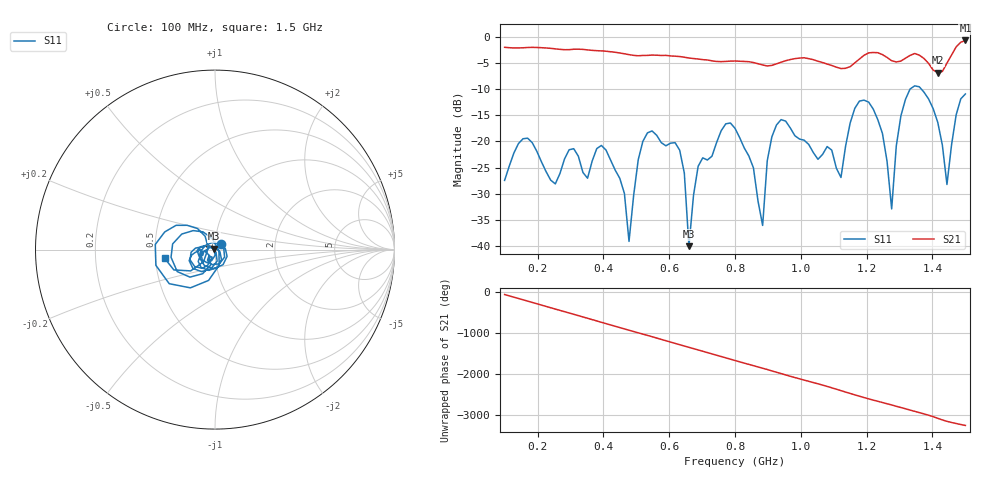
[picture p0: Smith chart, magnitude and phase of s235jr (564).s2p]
! NanoVNA-App
! Date: 2025-09-25 15:08:33
! Start: 100MHz Stop: 1,5GHz Points: 101
! S-Parameter data: F S11 S21 S12 S22
# Hz S RI R 50
!  Frequency  S11_Real  S11_Imag  S21_Real  S21_Imag  S12_Real  S12_Imag  S22_Real  S22_Imag
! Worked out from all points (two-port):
!   101 points, 100 MHz to 1.5 GHz, reference 50 ohm
!   highest |S21| = -0.65 dB at 1.5 GHz (marker M1); lowest = -6.8 dB at 1.416 GHz (marker M2)
!   |S21| within 3 dB of the highest: start of sweep to 613.7 MHz; 1.189 GHz to 1.255 GHz (66.4 MHz wide, 5.43 % of centre) (the widest 2 of 4)
!   lowest |S11| = -40.1 dB at 660 MHz (marker M3), VSWR 1.02, Z = 49.2 + j0.565 ohm
!   |S11| at or under -10 dB: start of sweep to 1.332 GHz; 1.366 GHz to end of sweep
!   S12 and S22 are empty: the file has one direction only
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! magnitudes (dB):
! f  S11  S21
! 100 MHz  -27.5  -2.0
! 170 MHz  -19.4  -2.0
! 338 MHz  -26.0  -2.4
! 408 MHz  -21.6  -2.7
! 478 MHz  -39.2  -3.4
! 520 MHz  -20.0  -3.5
! 576 MHz  -20.2  -3.5
! 632 MHz  -21.7  -3.7
! 660 MHz  -40.1  -4.0
! 688 MHz  -24.8  -4.2
! 800 MHz  -17.5  -4.6
! 884 MHz  -36.1  -5.3
! 926 MHz  -16.9  -5.1
! 1.038 GHz  -22.1  -4.3
! 1.122 GHz  -26.9  -6.0
! 1.206 GHz  -12.5  -3.0
! 1.276 GHz  -32.9  -4.5
! 1.304 GHz  -15.1  -4.6
! 1.332 GHz  -10.0  -3.5
! 1.416 GHz  -16.3  -6.8
! 1.444 GHz  -28.2  -5.0
! 1.5 GHz  -10.9  -0.7
